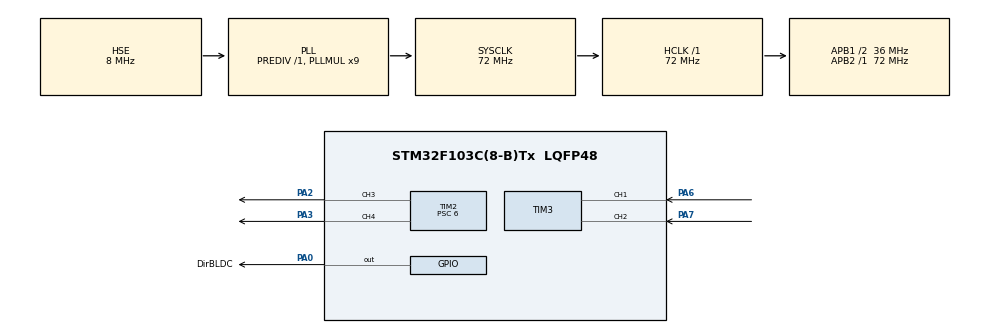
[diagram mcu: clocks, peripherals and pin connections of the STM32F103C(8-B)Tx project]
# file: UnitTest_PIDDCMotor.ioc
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FREERTOS.Tasks01=CalPIDDC,0,128,StartCalPIDDC,Default,NULL,Dynamic,NULL,NULL;TaskLogic,-1,128,StartLogic,Default,NULL,Dynamic,NULL,NULL
Mcu.Family=STM32F1
Mcu.Name=STM32F103C(8-B)Tx
Mcu.Package=LQFP48
NVIC.PriorityGroup=NVIC_PRIORITYGROUP_4
NVIC.TIM1_UP_IRQn=true\:15\:0\:false\:false\:true\:false\:false\:true\:true
NVIC.TIM3_IRQn=true\:5\:0\:false\:false\:true\:true\:true\:true\:true
NVIC.TimeBase=TIM1_UP_IRQn
NVIC.TimeBaseIP=TIM1
PA0-WKUP.GPIO_Label=DirBLDC
PA0-WKUP.Signal=GPIO_Output
PA13.Mode=Serial_Wire
PA13.Signal=SYS_JTMS-SWDIO
PA14.Mode=Serial_Wire
PA14.Signal=SYS_JTCK-SWCLK
PA2.Signal=S_TIM2_CH3
PA3.Signal=S_TIM2_CH4
PA6.Signal=S_TIM3_CH1
PA7.Signal=S_TIM3_CH2
PD0-OSC_IN.Mode=HSE-External-Oscillator
PD0-OSC_IN.Signal=RCC_OSC_IN
PD1-OSC_OUT.Mode=HSE-External-Oscillator
PD1-OSC_OUT.Signal=RCC_OSC_OUT
ProjectManager.HeapSize=0x200
ProjectManager.StackSize=0x400
ProjectManager.TargetToolchain=STM32CubeIDE
RCC.AHBFreq_Value=72000000
RCC.APB1CLKDivider=RCC_HCLK_DIV2
RCC.APB1Freq_Value=36000000
RCC.APB1TimFreq_Value=72000000
RCC.APB2Freq_Value=72000000
RCC.APB2TimFreq_Value=72000000
RCC.HCLKFreq_Value=72000000
RCC.PLLMUL=RCC_PLL_MUL9
RCC.PLLSourceVirtual=RCC_PLLSOURCE_HSE
RCC.SYSCLKFreq_VALUE=72000000
RCC.SYSCLKSource=RCC_SYSCLKSOURCE_PLLCLK
RCC.USBFreq_Value=72000000
SH.S_TIM2_CH3.0=TIM2_CH3,PWM Generation3 CH3
SH.S_TIM2_CH4.0=TIM2_CH4,PWM Generation4 CH4
SH.S_TIM3_CH1.0=TIM3_CH1,Encoder_Interface
SH.S_TIM3_CH2.0=TIM3_CH2,Encoder_Interface
TIM2.Channel-PWM\ Generation3\ CH3=TIM_CHANNEL_3
TIM2.Channel-PWM\ Generation4\ CH4=TIM_CHANNEL_4
TIM2.Period=999
TIM2.Prescaler=6
TIM3.EncoderMode=TIM_ENCODERMODE_TI12
VP_FREERTOS_VS_CMSIS_V1.Mode=CMSIS_V1
VP_SYS_VS_tim1.Mode=TIM1
VP_TIM2_VS_ClockSourceINT.Mode=Internal
board=custom

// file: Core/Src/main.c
/* USER CODE BEGIN Header */
/**
  ******************************************************************************
  * @file           : main.c
  * @brief          : Main program body
  ******************************************************************************
  * @attention
  *
  * Copyright (c) 2023 STMicroelectronics.
  * All rights reserved.
  *
  * This software is licensed under terms that can be found in the LICENSE file
  * in the root directory of this software component.
  * If no LICENSE file comes with this software, it is provided AS-IS.
  *
  ******************************************************************************
  */
/* USER CODE END Header */
#include "main.h"
#include "cmsis_os.h"

/* USER CODE BEGIN Includes */
#include "Encoder.h"
#include "DriveMotor.h"
#include "PID.h"
#include "stdlib.h"
/* USER CODE END Includes */

/* USER CODE BEGIN PM */
/*-----------------------------Begin:PID DC Macro(SPEED)----------------------*/
#define DCProportion 			5
#define DCIntegral				300
#define DCDerivatite			0
#define DCAlpha					0
#define DCDeltaT				0.001
#define DCClockWise				1
#define DCCounterClockWise 	   -1
#define DCStop					0
#define DCIntegralAboveLimit	1000
#define DCIntegralBelowLimit	-1000
#define DCSumAboveLimit 		1000
#define DCSumBelowLimit			-1000
#define DCEncoderPerRound		1000
#define DCGearRatio				3.535

double SpeedTest_DC_Speed;
/*-----------------------------End:PID DC Macro(SPEED)------------------------*/

/*-----------------------------Begin:PID DC Macro(POS)------------------------*/
#define DCProportionPOS 				10
#define DCIntegralPOS					0
#define DCDerivatitePOS					0
#define DCAlphaPOS						0
#define DCDeltaTPOS						0.001
#define DCIntegralAboveLimitPOS			1000
#define DCIntegralBelowLimitPOS			-1000
#define DCSumAboveLimitPOS				1000
#define DCSumBelowLimitPOS				-1000

double SpeedTest_DC_POS;
/*-----------------------------End:PID DC Macro(POS)--------------------------*/
double Degree;
/* USER CODE END PM */

TIM_HandleTypeDef htim2;
TIM_HandleTypeDef htim3;

osThreadId CalPIDDCHandle;
osThreadId TaskLogicHandle;
/* USER CODE BEGIN PV */
EncoderRead ENC_DC;

MotorDrive DC;

PID_Param PID_DC_SPEED;
PID_Param PID_DC_POS;
/* USER CODE END PV */

void SystemClock_Config(void);
static void MX_GPIO_Init(void);
static void MX_TIM2_Init(void);
static void MX_TIM3_Init(void);
void StartCalPIDDC(void const * argument);
void StartLogic(void const * argument);

/* USER CODE BEGIN 0 */
void PIDDCSPEED(void){
	SpeedReadNonReset(&ENC_DC);

	Pid_Cal(&PID_DC_SPEED, SpeedTest_DC_Speed, ENC_DC.vel_Real);

	DC_Drive_BTS(&DC, &htim2, motor_Reserve, PID_DC_SPEED.u, TIM_CHANNEL_3, TIM_CHANNEL_4);
}

void PIDDCPOS(void){
	Pid_Cal(&PID_DC_POS, SpeedTest_DC_POS, CountRead(&ENC_DC, count_ModeDegree));

	SpeedTest_DC_Speed = PID_DC_POS.u;

	PIDDCSPEED();
}
/* USER CODE END 0 */

int main(void)
{

  /* MCU Configuration--------------------------------------------------------*/

  /* Reset of all peripherals, Initializes the Flash interface and the Systick. */
  HAL_Init();

  /* Configure the system clock */
  SystemClock_Config();

  /* Initialize all configured peripherals */
  MX_GPIO_Init();
  MX_TIM2_Init();
  MX_TIM3_Init();
  /* USER CODE BEGIN 2 */
  HAL_TIM_PWM_Start(&htim2, TIM_CHANNEL_3);
  HAL_TIM_PWM_Start(&htim2, TIM_CHANNEL_4);
  HAL_TIM_Encoder_Start_IT(&htim3, TIM_CHANNEL_ALL);

  EncoderSetting(&ENC_DC, &htim3, DCEncoderPerRound*DCGearRatio, DCDeltaT);
  Pid_SetParam(&PID_DC_SPEED, DCProportion, DCIntegral, DCDerivatite, DCAlpha, DCDeltaT, DCIntegralAboveLimit, DCIntegralBelowLimit, DCSumAboveLimit, DCSumBelowLimit);
  Pid_SetParam(&PID_DC_POS, DCProportionPOS, DCIntegralPOS, DCDerivatitePOS, DCAlphaPOS, DCDeltaTPOS, DCIntegralAboveLimitPOS, DCIntegralBelowLimitPOS, DCSumAboveLimitPOS, DCSumBelowLimitPOS);

  /* USER CODE END 2 */

  /* Create the thread(s) */
  /* definition and creation of CalPIDDC */
  osThreadDef(CalPIDDC, StartCalPIDDC, osPriorityNormal, 0, 128);
  CalPIDDCHandle = osThreadCreate(osThread(CalPIDDC), NULL);

  /* definition and creation of TaskLogic */
  osThreadDef(TaskLogic, StartLogic, osPriorityBelowNormal, 0, 128);
  TaskLogicHandle = osThreadCreate(osThread(TaskLogic), NULL);

  /* Start scheduler */
  osKernelStart();

  /* We should never get here as control is now taken by the scheduler */
  /* Infinite loop */
  while (1)
  {

  }
}

void SystemClock_Config(void)
{
  RCC_OscInitTypeDef RCC_OscInitStruct = {0};
  RCC_ClkInitTypeDef RCC_ClkInitStruct = {0};

  /** Initializes the RCC Oscillators according to the specified parameters
  * in the RCC_OscInitTypeDef structure.
  */
  RCC_OscInitStruct.OscillatorType = RCC_OSCILLATORTYPE_HSE;
  RCC_OscInitStruct.HSEState = RCC_HSE_ON;
  RCC_OscInitStruct.HSEPredivValue = RCC_HSE_PREDIV_DIV1;
  RCC_OscInitStruct.HSIState = RCC_HSI_ON;
  RCC_OscInitStruct.PLL.PLLState = RCC_PLL_ON;
  RCC_OscInitStruct.PLL.PLLSource = RCC_PLLSOURCE_HSE;
  RCC_OscInitStruct.PLL.PLLMUL = RCC_PLL_MUL9;
  if (HAL_RCC_OscConfig(&RCC_OscInitStruct) != HAL_OK)
  {
    Error_Handler();
  }

  /** Initializes the CPU, AHB and APB buses clocks
  */
  RCC_ClkInitStruct.ClockType = RCC_CLOCKTYPE_HCLK|RCC_CLOCKTYPE_SYSCLK
                              |RCC_CLOCKTYPE_PCLK1|RCC_CLOCKTYPE_PCLK2;
  RCC_ClkInitStruct.SYSCLKSource = RCC_SYSCLKSOURCE_PLLCLK;
  RCC_ClkInitStruct.AHBCLKDivider = RCC_SYSCLK_DIV1;
  RCC_ClkInitStruct.APB1CLKDivider = RCC_HCLK_DIV2;
  RCC_ClkInitStruct.APB2CLKDivider = RCC_HCLK_DIV1;

  if (HAL_RCC_ClockConfig(&RCC_ClkInitStruct, FLASH_LATENCY_2) != HAL_OK)
  {
    Error_Handler();
  }
}

static void MX_TIM2_Init(void)
{

  TIM_ClockConfigTypeDef sClockSourceConfig = {0};
  TIM_MasterConfigTypeDef sMasterConfig = {0};
  TIM_OC_InitTypeDef sConfigOC = {0};

  htim2.Instance = TIM2;
  htim2.Init.Prescaler = 6;
  htim2.Init.CounterMode = TIM_COUNTERMODE_UP;
  htim2.Init.Period = 999;
  htim2.Init.ClockDivision = TIM_CLOCKDIVISION_DIV1;
  htim2.Init.AutoReloadPreload = TIM_AUTORELOAD_PRELOAD_DISABLE;
  if (HAL_TIM_Base_Init(&htim2) != HAL_OK)
  {
    Error_Handler();
  }
  sClockSourceConfig.ClockSource = TIM_CLOCKSOURCE_INTERNAL;
  if (HAL_TIM_ConfigClockSource(&htim2, &sClockSourceConfig) != HAL_OK)
  {
    Error_Handler();
  }
  if (HAL_TIM_PWM_Init(&htim2) != HAL_OK)
  {
    Error_Handler();
  }
  sMasterConfig.MasterOutputTrigger = TIM_TRGO_RESET;
  sMasterConfig.MasterSlaveMode = TIM_MASTERSLAVEMODE_DISABLE;
  if (HAL_TIMEx_MasterConfigSynchronization(&htim2, &sMasterConfig) != HAL_OK)
  {
    Error_Handler();
  }
  sConfigOC.OCMode = TIM_OCMODE_PWM1;
  sConfigOC.Pulse = 0;
  sConfigOC.OCPolarity = TIM_OCPOLARITY_HIGH;
  sConfigOC.OCFastMode = TIM_OCFAST_DISABLE;
  if (HAL_TIM_PWM_ConfigChannel(&htim2, &sConfigOC, TIM_CHANNEL_3) != HAL_OK)
  {
    Error_Handler();
  }
  if (HAL_TIM_PWM_ConfigChannel(&htim2, &sConfigOC, TIM_CHANNEL_4) != HAL_OK)
  {
    Error_Handler();
  }
  HAL_TIM_MspPostInit(&htim2);

}

static void MX_TIM3_Init(void)
{

  TIM_Encoder_InitTypeDef sConfig = {0};
  TIM_MasterConfigTypeDef sMasterConfig = {0};

  htim3.Instance = TIM3;
  htim3.Init.Prescaler = 0;
  htim3.Init.CounterMode = TIM_COUNTERMODE_UP;
  htim3.Init.Period = 65535;
  htim3.Init.ClockDivision = TIM_CLOCKDIVISION_DIV1;
  htim3.Init.AutoReloadPreload = TIM_AUTORELOAD_PRELOAD_DISABLE;
  sConfig.EncoderMode = TIM_ENCODERMODE_TI12;
  sConfig.IC1Polarity = TIM_ICPOLARITY_RISING;
  sConfig.IC1Selection = TIM_ICSELECTION_DIRECTTI;
  sConfig.IC1Prescaler = TIM_ICPSC_DIV1;
  sConfig.IC1Filter = 0;
  sConfig.IC2Polarity = TIM_ICPOLARITY_RISING;
  sConfig.IC2Selection = TIM_ICSELECTION_DIRECTTI;
  sConfig.IC2Prescaler = TIM_ICPSC_DIV1;
  sConfig.IC2Filter = 0;
  if (HAL_TIM_Encoder_Init(&htim3, &sConfig) != HAL_OK)
  {
    Error_Handler();
  }
  sMasterConfig.MasterOutputTrigger = TIM_TRGO_RESET;
  sMasterConfig.MasterSlaveMode = TIM_MASTERSLAVEMODE_DISABLE;
  if (HAL_TIMEx_MasterConfigSynchronization(&htim3, &sMasterConfig) != HAL_OK)
  {
    Error_Handler();
  }

}

static void MX_GPIO_Init(void)
{
  GPIO_InitTypeDef GPIO_InitStruct = {0};

  /* GPIO Ports Clock Enable */
  __HAL_RCC_GPIOD_CLK_ENABLE();
  __HAL_RCC_GPIOA_CLK_ENABLE();

  /*Configure GPIO pin Output Level */
  HAL_GPIO_WritePin(DirBLDC_GPIO_Port, DirBLDC_Pin, GPIO_PIN_RESET);

  /*Configure GPIO pin : DirBLDC_Pin */
  GPIO_InitStruct.Pin = DirBLDC_Pin;
  GPIO_InitStruct.Mode = GPIO_MODE_OUTPUT_PP;
  GPIO_InitStruct.Pull = GPIO_NOPULL;
  GPIO_InitStruct.Speed = GPIO_SPEED_FREQ_LOW;
  HAL_GPIO_Init(DirBLDC_GPIO_Port, &GPIO_InitStruct);

}

void StartCalPIDDC(void const * argument)
{
  /* USER CODE BEGIN 5 */
  /* Infinite loop */
  for(;;)
  {
//	DC_Drive_BTS(&DC, &htim2, motor_Reserve, SpeedTest_DC_Speed, TIM_CHANNEL_3, TIM_CHANNEL_4);
//	SpeedReadNonReset(&ENC_DC);
//	PIDDCSPEED();
	Degree = CountRead(&ENC_DC, count_ModeDegree);
//	countX1 = CountRead(&ENC_DC, countX1);
	PIDDCPOS();
    osDelay(1);
  }
  /* USER CODE END 5 */
}

void StartLogic(void const * argument)
{
  /* USER CODE BEGIN StartLogic */
  /* Infinite loop */
  for(;;)
  {
//	SpeedTest_DC_POS = 360;
//	HAL_Delay(1000);
//	SpeedTest_DC_POS = 0;
//	HAL_Delay(1000);
    osDelay(1);
  }
  /* USER CODE END StartLogic */
}

void HAL_TIM_PeriodElapsedCallback(TIM_HandleTypeDef *htim)
{
  if (htim->Instance == TIM1) {
    HAL_IncTick();
  }
}

void Error_Handler(void)
{
  __disable_irq();
  while (1)
  {
  }
}
